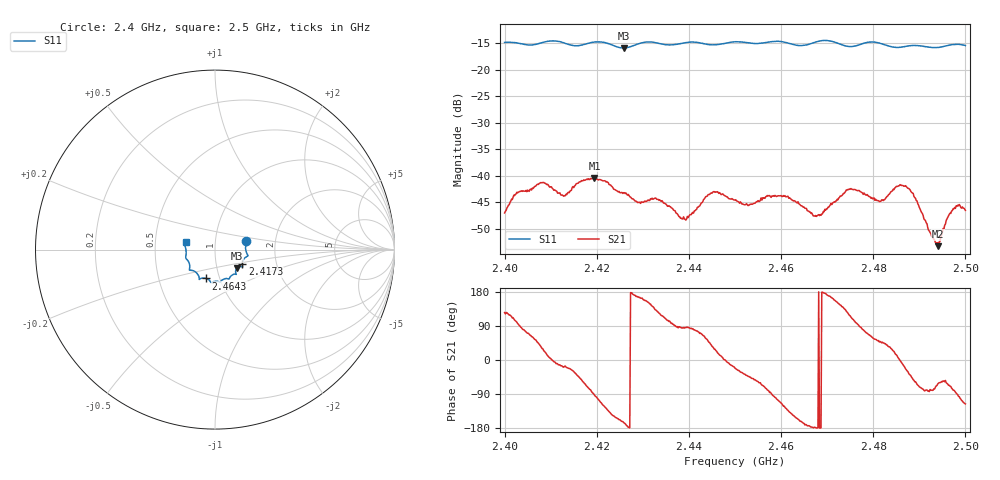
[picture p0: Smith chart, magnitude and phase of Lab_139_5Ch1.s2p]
# Hz S RI R 50
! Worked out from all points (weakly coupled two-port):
!   601 points, 2.4 GHz to 2.5 GHz, reference 50 ohm
!   highest |S21| = -40.43 dB at 2.4195 GHz (marker M1); lowest = -53.3 dB at 2.494 GHz (marker M2)
!   lowest |S11| = -15.9 dB at 2.4258 GHz (marker M3), VSWR 1.38, Z = 62.3 - j13.3 ohm
!   |S11| at or under -10 dB: start of sweep to end of sweep
!   S12 and S22 are empty: the file has one direction only
!   S11 on the Smith chart (normalised r, x): 2.4 GHz: 1.41, +0.14; 2.4173 GHz: 1.34, -0.23; 2.4643 GHz: 0.86, -0.28; 2.5 GHz: 0.72, +0.06
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2.4e9  0.1735 0.0493  -0.00256 0.00363  0 0  0 0
2.4025e9  0.1752 0.038  -0.00138 0.00659  0 0  0 0
2.4075e9  0.1757 -0.0161  0.00628 0.00562  0 0  0 0
2.412667e9  0.1756 -0.0392  0.00617 -0.00204  0 0  0 0
2.416667e9  0.1531 -0.0742  0.00557 -0.00703  0 0  0 0
2.417333e9  0.1523 -0.0816  0.00419 -0.00799  0 0  0 0
2.4195e9  0.1542 -0.0966  -0.000443 -0.00951  0 0  0 0
2.425833e9  0.1215 -0.1039  -0.00668 -0.00177  0 0  0 0
2.433333e9  0.1127 -0.1368  -0.00353 0.00481  0 0  0 0
2.439e9  0.0808 -0.1594  0.000398 0.00387  0 0  0 0
2.445167e9  0.0545 -0.1623  0.00574 0.00398  0 0  0 0
2.45e9  0.0291 -0.1808  0.00548 -0.00216  0 0  0 0
2.460333e9  -0.0239 -0.1815  -0.00302 -0.0056  0 0  0 0
2.464333e9  -0.0499 -0.1607  -0.00493 -0.00162  0 0  0 0
2.466667e9  -0.0759 -0.1599  -0.00443 -0.000235  0 0  0 0
2.474667e9  -0.103 -0.1292  -0.00375 0.00635  0 0  0 0
2.481167e9  -0.1421 -0.1085  0.00362 0.00452  0 0  0 0
2.483333e9  -0.1405 -0.0901  0.00543 0.00381  0 0  0 0
2.4875e9  -0.158 -0.0536  0.00656 -0.00385  0 0  0 0
2.494e9  -0.1618 -0.00154  0.000977 -0.00193  0 0  0 0
2.497167e9  -0.1699 0.0272  0.0011 -0.00455  0 0  0 0
2.5e9  -0.1634 0.042  -0.00205 -0.00422  0 0  0 0
